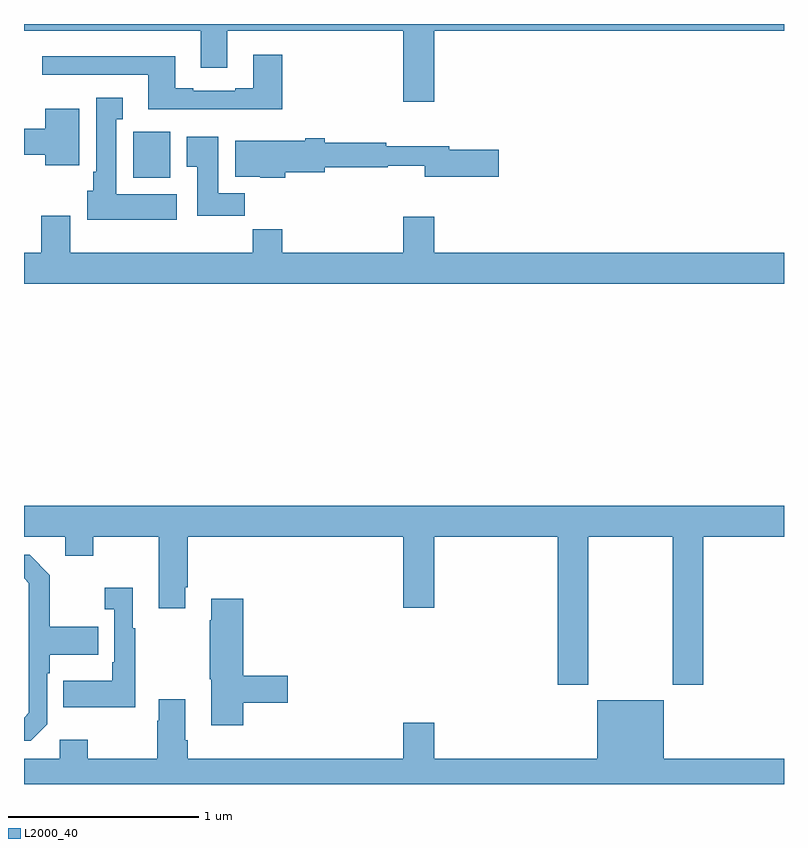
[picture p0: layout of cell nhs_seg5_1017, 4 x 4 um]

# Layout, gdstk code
import gdstk
lib = gdstk.Library(unit=1e-6, precision=1e-09)
def R(c, l, rs):  # rectangles x0, y0, x1, y1
    for r in rs: c.add(gdstk.rectangle(r[:2], r[2:], *l))
def P(c, l, *ps):  # polygons
    for p in ps: c.add(gdstk.Polygon(p, *l))
L2000_40 = (2000, 40)

nhs_seg5_1017 = lib.new_cell('nhs_seg5_1017')
R(nhs_seg5_1017, L2000_40, [(175.574,851.99,175.771,852.232)])
P(nhs_seg5_1017, L2000_40, [(177.16,852.764),(179,852.764),(179,852.799),(175,852.799),(175,852.764),(175.931,852.764),(175.931,852.57),(176.071,852.57),(176.071,852.764),(176.996,852.764),(176.996,852.39),(177.16,852.39)],
  [(176.36,852.637),(176.207,852.637),(176.207,852.46),(176.111,852.46),(176.111,852.447),(175.891,852.447),(175.891,852.46),(175.795,852.46),(175.795,852.628),(175.095,852.628),(175.095,852.531),(175.655,852.531),(175.655,852.35),(176.36,852.35)],
  [(175.804,851.902),(175.486,851.902),(175.486,852.299),(175.519,852.299),(175.519,852.412),(175.379,852.412),(175.379,852.022),(175.364,852.022),(175.364,851.922),(175.334,851.922),(175.334,851.768),(175.804,851.768)],
  [(175.291,852.352),(175.112,852.352),(175.112,852.248),(175,852.248),(175,852.112),(175.112,852.112),(175.112,852.056),(175.291,852.056)],
  [(176.162,851.908),(176.023,851.908),(176.023,852.205),(175.856,852.205),(175.856,852.049),(175.913,852.049),(175.913,851.79),(176.162,851.79)],
  [(176.375,852.019),(176.584,852.019),(176.584,852.045),(176.914,852.045),(176.914,852.052),(177.11,852.052),(177.11,851.995),(177.499,851.995),(177.499,852.137),(177.238,852.137),(177.238,852.156),(176.907,852.156),(176.907,852.173),(176.584,852.173),(176.584,852.197),(176.48,852.197),(176.48,852.184),(176.111,852.184),(176.111,851.996),(176.244,851.996),(176.244,851.99),(176.375,851.99)],
  [(179,851.596),(177.16,851.596),(177.16,851.785),(176.996,851.785),(176.996,851.596),(176.36,851.596),(176.36,851.72),(176.203,851.72),(176.203,851.596),(175.243,851.596),(175.243,851.791),(175.091,851.791),(175.091,851.596),(175,851.596),(175,851.432),(179,851.432)],
  [(177.969,850.1),(178.414,850.1),(178.414,849.321),(178.574,849.321),(178.574,850.1),(179,850.1),(179,850.264),(175,850.264),(175,850.1),(175.217,850.1),(175.217,850.001),(175.365,850.001),(175.365,850.1),(175.709,850.1),(175.709,849.723),(175.849,849.723),(175.849,849.835),(175.862,849.835),(175.862,850.1),(176.996,850.1),(176.996,849.726),(177.16,849.726),(177.16,850.1),(177.809,850.1),(177.809,849.321),(177.969,849.321)],
  [(175.122,849.114),(175.122,849.383),(175.135,849.383),(175.135,849.479),(175.391,849.479),(175.391,849.627),(175.135,849.627),(175.135,849.899),(175.029,850.005),(175,850.005),(175,849.881),(175.026,849.855),(175.026,849.174),(175,849.148),(175,849.027),(175.035,849.027)],
  [(175.585,849.619),(175.573,849.619),(175.573,849.832),(175.425,849.832),(175.425,849.719),(175.476,849.719),(175.476,849.439),(175.464,849.439),(175.464,849.343),(175.207,849.343),(175.207,849.203),(175.585,849.203)],
  [(176.153,849.226),(176.389,849.226),(176.389,849.368),(176.153,849.368),(176.153,849.775),(175.985,849.775),(175.985,849.662),(175.978,849.662),(175.978,849.351),(175.985,849.351),(175.985,849.108),(176.153,849.108)],
  [(175.862,849.028),(175.849,849.028),(175.849,849.244),(175.709,849.244),(175.709,849.131),(175.702,849.131),(175.702,848.932),(175.335,848.932),(175.335,849.031),(175.188,849.031),(175.188,848.932),(175,848.932),(175,848.799),(179,848.799),(179,848.932),(178.366,848.932),(178.366,849.241),(178.016,849.241),(178.016,848.932),(177.16,848.932),(177.16,849.121),(176.996,849.121),(176.996,848.932),(175.862,848.932)])

lib.write_gds('nhs_seg5_1017.gds')
